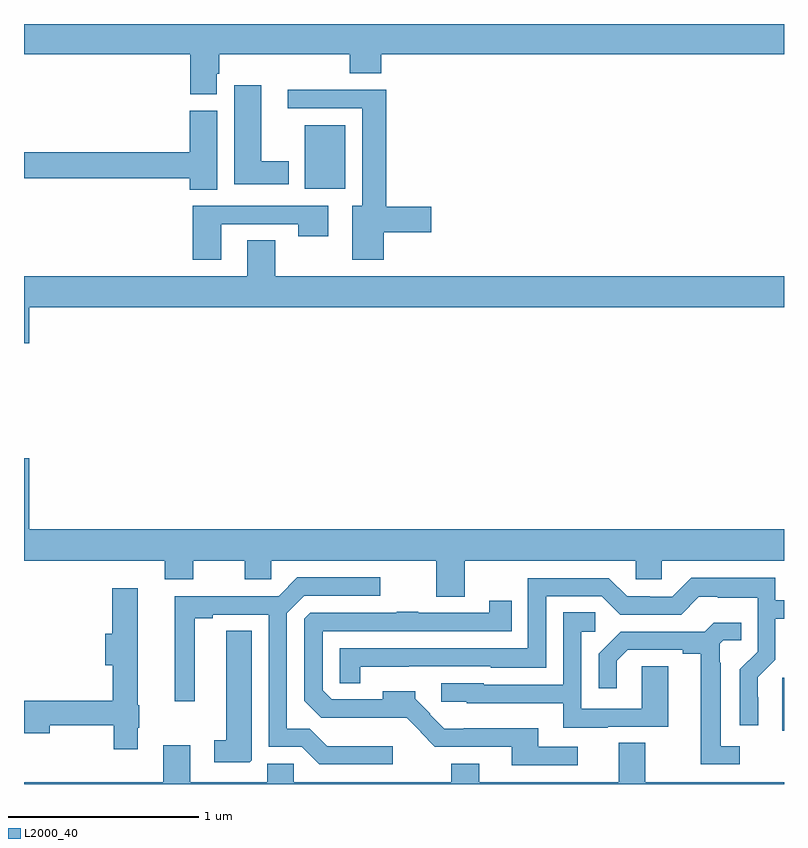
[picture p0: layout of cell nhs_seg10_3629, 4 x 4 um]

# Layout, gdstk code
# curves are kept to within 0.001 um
import gdstk
lib = gdstk.Library(unit=1e-6, precision=1e-09)
def R(c, l, rs):  # rectangles x0, y0, x1, y1
    for r in rs: c.add(gdstk.rectangle(r[:2], r[2:], *l))
def P(c, l, *ps):  # polygons
    for p in ps: c.add(gdstk.Polygon(p, *l))
L2000_40 = (2000, 40)

nhs_seg10_3629 = lib.new_cell('nhs_seg10_3629')
R(nhs_seg10_3629, L2000_40, [(312.992,1272.781,313,1273.059), (310.478,1275.632,310.69,1275.967)])
P(nhs_seg10_3629, L2000_40, [(310.015,1276.239),(310.028,1276.239),(310.028,1276.34),(310.715,1276.34),(310.715,1276.241),(310.88,1276.241),(310.88,1276.34),(313,1276.34),(313,1276.5),(309,1276.5),(309,1276.34),(309.875,1276.34),(309.875,1276.129),(310.015,1276.129)],
  [(310.393,1275.778),(310.249,1275.778),(310.249,1276.177),(310.106,1276.177),(310.106,1275.656),(310.393,1275.656)],
  [(310.894,1275.404),(311.143,1275.404),(311.143,1275.539),(310.907,1275.539),(310.907,1276.154),(310.389,1276.154),(310.389,1276.056),(310.781,1276.056),(310.781,1275.544),(310.727,1275.544),(310.727,1275.258),(310.894,1275.258)],
  [(310.018,1276.044),(309.872,1276.044),(309.872,1275.824),(309,1275.824),(309,1275.688),(309.872,1275.688),(309.872,1275.628),(310.018,1275.628)],
  [(310.039,1275.447),(310.444,1275.447),(310.444,1275.384),(310.6,1275.384),(310.6,1275.543),(309.887,1275.543),(309.887,1275.258),(310.039,1275.258)],
  [(309.028,1275.008),(313,1275.008),(313,1275.172),(310.323,1275.172),(310.323,1275.362),(310.175,1275.362),(310.175,1275.172),(309,1275.172),(309,1274.82),(309.028,1274.82)],
  [(311.319,1273.676),(312.219,1273.676),(312.219,1273.578),(312.357,1273.578),(312.357,1273.676),(313,1273.676),(313,1273.84),(309.028,1273.84),(309.028,1274.215),(309,1274.215),(309,1273.676),(309.74,1273.676),(309.74,1273.577),(309.892,1273.577),(309.892,1273.676),(310.163,1273.676),(310.163,1273.578),(310.302,1273.578),(310.302,1273.676),(311.171,1273.676),(311.171,1273.486),(311.319,1273.486)],
  [(310.942,1272.7),(310.595,1272.7),(310.504,1272.791),(310.383,1272.791),(310.383,1273.398),(310.476,1273.491),(310.876,1273.491),(310.876,1273.587),(310.439,1273.587),(310.34,1273.488),(309.794,1273.488),(309.794,1272.936),(309.898,1272.936),(309.898,1273.372),(309.994,1273.372),(309.994,1273.392),(310.287,1273.392),(310.287,1272.696),(310.461,1272.696),(310.554,1272.603),(310.942,1272.603)],
  [(312.864,1272.956),(312.863,1273.062),(312.954,1273.154),(312.954,1273.37),(313,1273.37),(313,1273.467),(312.955,1273.467),(312.955,1273.585),(312.511,1273.585),(312.411,1273.485),(312.294,1273.485),(312.294,1273.488),(312.174,1273.488),(312.078,1273.584),(311.652,1273.584),(311.652,1273.215),(310.662,1273.215),(310.662,1273.03),(310.771,1273.03),(310.771,1273.118),(311.457,1273.119),(311.457,1273.112),(311.748,1273.112),(311.748,1273.488),(312.042,1273.488),(312.138,1273.392),(312.459,1273.392),(312.552,1273.485),(312.652,1273.485),(312.652,1273.481),(312.861,1273.481),(312.861,1273.197),(312.768,1273.104),(312.768,1272.81),(312.864,1272.81)],
  [(309.598,1272.796),(309.606,1272.796),(309.606,1272.915),(309.598,1272.915),(309.598,1273.531),(309.464,1273.531),(309.464,1273.29),(309.428,1273.29),(309.428,1273.124),(309.467,1273.124),(309.467,1272.938),(309,1272.938),(309,1272.767),(309.136,1272.767),(309.136,1272.81),(309.472,1272.81),(309.472,1272.684),(309.598,1272.684)],
  [(311.914,1272.696),(311.707,1272.696),(311.707,1272.793),(311.314,1272.793),(311.314,1272.791),(311.213,1272.791),(311.136,1272.867),(311.139,1272.87),(311.06,1272.949),(311.06,1272.988),(310.889,1272.988),(310.889,1272.945),(310.62,1272.945),(310.572,1272.993),(310.572,1273.305),(311.567,1273.305),(311.567,1273.465),(311.449,1273.465),(311.449,1273.401),(311.075,1273.401),(311.075,1273.406),(310.963,1273.406),(310.963,1273.401),(310.506,1273.401),(310.476,1273.371),(310.476,1272.939),(310.565,1272.85),(310.681,1272.85),(310.681,1272.848),(311.015,1272.849),(311.089,1272.775),(311.087,1272.773),(311.163,1272.696),(311.567,1272.696),(311.567,1272.6),(311.914,1272.6)],
  [(312.073,1272.801),(312.391,1272.801),(312.391,1273.121),(312.252,1273.121),(312.252,1272.897),(311.934,1272.897),(311.934,1273.302),(312.007,1273.302),(312.007,1273.403),(311.838,1273.403),(311.838,1273.023),(311.421,1273.023),(311.421,1273.029),(311.196,1273.029),(311.196,1272.933),(311.331,1272.933),(311.331,1272.926),(311.837,1272.926),(311.837,1272.797),(312.073,1272.797)],
  [(312.766,1272.699),(312.667,1272.699),(312.667,1273.139),(312.663,1273.139),(312.663,1273.239),(312.681,1273.257),(312.776,1273.257),(312.776,1273.349),(312.63,1273.349),(312.582,1273.302),(312.14,1273.302),(312.024,1273.186),(312.024,1273.005),(312.121,1273.005),(312.121,1273.149),(312.178,1273.206),(312.467,1273.206),(312.467,1273.186),(312.563,1273.186),(312.563,1272.603),(312.766,1272.603)],
  [(310.198,1272.625),(310.198,1273.307),(310.064,1273.307),(310.064,1272.731),(310.002,1272.731),(310.002,1272.615),(310.188,1272.615)],
  [(313,1272.508),(312.271,1272.508),(312.271,1272.716),(312.131,1272.716),(312.131,1272.508),(311.395,1272.508),(311.395,1272.607),(311.248,1272.607),(311.248,1272.508),(310.419,1272.508),(310.419,1272.606),(310.28,1272.606),(310.28,1272.508),(309.874,1272.508),(309.874,1272.703),(309.734,1272.703),(309.734,1272.508),(309,1272.508),(309,1272.5),(313,1272.5)])

lib.write_gds('nhs_seg10_3629.gds')
